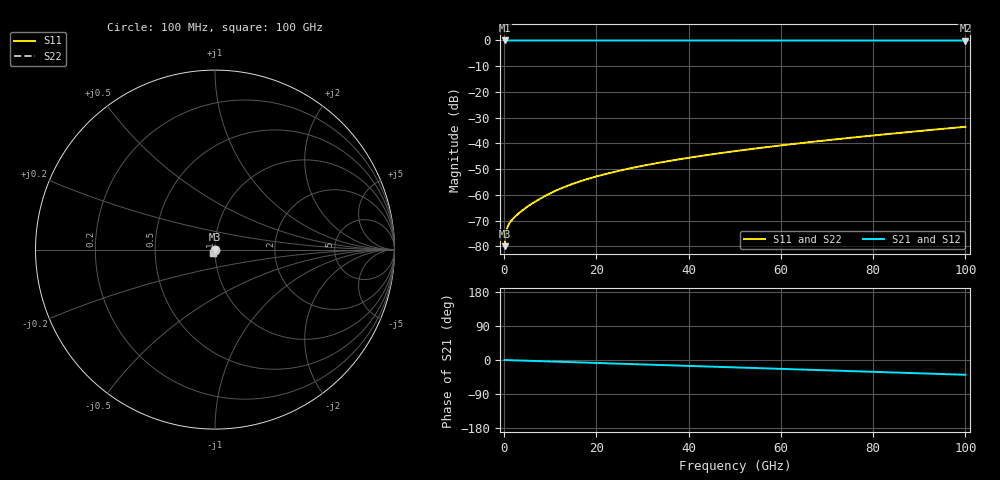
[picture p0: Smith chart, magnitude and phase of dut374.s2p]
! Touchstone file exported from HFSS 2026.1.0
!  File:  C:/ffzhzh/LocalFiles/Ansys_Project_Files/temp_train_TSV_374_1783510412_31944.aedt
!  Generated:  07:34:40 PM Jul  8, 2026
!  Design:  TSV
!  Project:  temp_train_TSV_374_1783510412_31944
! Variables:
!  h_bsmrdl = 2um
!  h_ox = 20um
!  h_rdl = 5um
!  h_sub = 77.21um
!  h_tmrdl = 5um
!  h_tsv = 77.21um
!  h_via = 3um
!  l_bsmrdl = 300um
!  l_sub = 423.76um
!  l_tmrdl = 200um
!  m_sub = 200um
!  pitch = 46.95um
!  r_tsv = 11.88um
!  s_tmrdl = 10um
!  w_bsmrdl = 18um
!  w_sub = 500um
!  w_tmrdl = 12um
!  x_tsv_center1 = 206um
!  x_tsv_center2 = 524um
!  x_tsv_center3 = 736um
!  x_tsv_center4 = 1054um
!  x_tsv_center5 = 1266um
!  x_tsv_center6 = 1584um
# GHz S MA R 50.000000
! Terminal data exported
! Port[1] = TSV1_1_T1
! Port[2] = TSV1_1_T2
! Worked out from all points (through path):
!   1000 points, 100 MHz to 100 GHz, reference 50 ohm
!   highest |S21| = 0.00 dB at 100 MHz (marker M1); lowest = 0.0 dB at 100 GHz (marker M2)
!   group delay of S21, straight-line fit = 1.08 ps
!   lowest |S11| = -79.9 dB at 100 MHz (marker M3), VSWR 1.00, Z = 50 + j0.00307 ohm
!   |S11| at or under -10 dB: start of sweep to end of sweep
!   |S22| runs from -79.9 to -33.5 dB; largest |S21 - S12| = 2.2e-15
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0.1  0.000101 17.7  0.9999 -0.0  0.9999 -0.0  0.000101 17.7
! Gamma 0 0 0 0
! Port Impedance 50 0 50 0
0.4  0.000175 31.4  0.9999 -0.2  0.9999 -0.2  0.000175 31.4
0.8  0.0002455 24.3  0.9998 -0.3  0.9998 -0.3  0.0002455 24.3
1  0.0002682 20.7  0.9998 -0.4  0.9998 -0.4  0.0002682 20.7
1.2  0.000287 17.5  0.9997 -0.5  0.9997 -0.5  0.000287 17.5
1.6  0.0003196 12.0  0.9997 -0.6  0.9997 -0.6  0.0003196 12.0
2.2  0.0003651 4.9  0.9996 -0.9  0.9996 -0.9  0.0003651 4.9
3.9  0.000497 -12.4  0.9995 -1.5  0.9995 -1.5  0.000497 -12.4
5.2  0.0006043 -23.1  0.9994 -2.0  0.9994 -2.0  0.0006042 -23.1
6.6  0.000728 -32.3  0.9994 -2.6  0.9994 -2.6  0.0007278 -32.3
10.1  0.001087 -47.1  0.9992 -3.9  0.9992 -3.9  0.001087 -47.2
13.2  0.001441 -55.7  0.9991 -5.1  0.9991 -5.1  0.001441 -55.7
16.8  0.001877 -63.1  0.999 -6.5  0.999 -6.5  0.001877 -63.2
20.2  0.00231 -68.6  0.9989 -7.9  0.9989 -7.9  0.002309 -68.6
24.1  0.002831 -73.7  0.9988 -9.4  0.9988 -9.4  0.00283 -73.7
28.5  0.003452 -78.4  0.9986 -11.1  0.9986 -11.1  0.003451 -78.5
33.4  0.004188 -82.9  0.9985 -13.0  0.9985 -13.0  0.004186 -83.0
41.2  0.005464 -89.1  0.9984 -16.0  0.9984 -16.0  0.005462 -89.2
50.1  0.007094 -95.3  0.9982 -19.5  0.9982 -19.5  0.00709 -95.4
66.7  0.01071 -105.4  0.9978 -25.9  0.9978 -25.9  0.0107 -105.5
83.4  0.01528 -114.6  0.9974 -32.5  0.9974 -32.5  0.01528 -114.7
100  0.02104 -123.3  0.9969 -39.0  0.9969 -39.0  0.02104 -123.4
